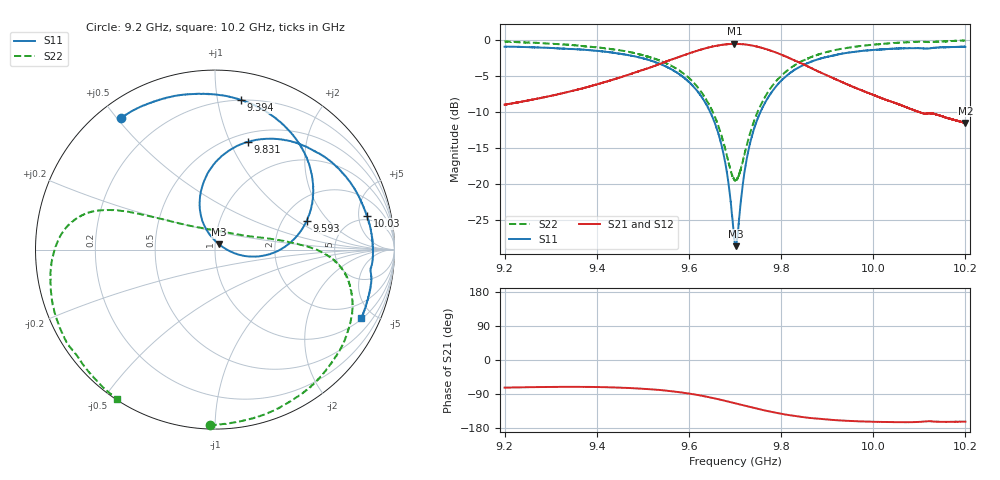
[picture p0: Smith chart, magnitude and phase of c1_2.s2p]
!Agilent Technologies,N5242A,MY51221714,A.09.90.19
!Agilent N5242A: A.09.90.19
!Date: Saturday, March 16, 2024 09:40:41
!Correction: S11(Full 2 Port(1,2))
!S21(Full 2 Port(1,2))
!S12(Full 2 Port(1,2))
!S22(Full 2 Port(1,2))
!S2P File: Measurements: S11, S21, S12, S22:
# Hz S  dB  R 50
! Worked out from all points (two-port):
!   16001 points, 9.2 GHz to 10.2 GHz, reference 50 ohm
!   highest |S21| = -0.51 dB at 9.699 GHz (marker M1); lowest = -11.5 dB at 10.2 GHz (marker M2)
!   |S21| within 3 dB of the highest: 9.528 GHz to 9.853 GHz (325.1 MHz wide, 3.35 % of centre)
!   lowest |S11| = -28.7 dB at 9.702 GHz (marker M3), VSWR 1.08, Z = 52.2 + j3.06 ohm
!   |S11| at or under -10 dB: 9.646 GHz to 9.755 GHz (109.2 MHz wide, 1.13 % of centre)
!   |S22| runs from -19.6 to 0.0 dB; largest |S21 - S12| = 0.013
!   S11 on the Smith chart (normalised r, x): 9.2 GHz: 0.07, +0.51; 9.394 GHz: 0.20, +1.17; 9.593 GHz: 2.69, +1.21; 9.831 GHz: 0.59, +1.17; 10.03 GHz: 4.20, +6.42; 10.2 GHz: 1.07, -4.27
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9.2e9  -0.91 125.7  -8.97 -72.9  -8.96 -73.6  -0.19 -91.7
9.27775e9  -1.03 108.3  -8.05 -71.4  -8.03 -71.9  -0.41 -70.2
9.366688e9  -1.31 87.2  -6.74 -71.0  -6.72 -71.6  -0.80 -46.8
9.394125e9  -1.46 80.2  -6.27 -71.2  -6.24 -71.9  -0.97 -39.7
9.463938e9  -2.03 61.1  -4.92 -73.6  -4.90 -74.1  -1.57 -23.6
9.533375e9  -3.20 39.4  -3.38 -78.8  -3.36 -79.4  -2.74 -9.7
9.593188e9  -5.42 17.4  -2.00 -87.3  -1.99 -87.9  -4.89 -0.1
9.662812e9  -12.75 -9.7  -0.75 -103.2  -0.73 -103.8  -11.72 15.1
9.681938e9  -18.21 -11.3  -0.58 -108.7  -0.56 -109.2  -15.96 31.8
9.698562e9  -27.59 25.8  -0.51 -113.7  -0.51 -114.3  -19.46 71.5
9.7e9  -28.21 36.5  -0.52 -114.1  -0.50 -114.8  -19.49 76.1
9.70175e9  -28.66 52.4  -0.53 -114.7  -0.51 -115.3  -19.51 81.7
9.72375e9  -17.16 113.9  -0.62 -121.4  -0.59 -122.0  -15.07 133.1
9.745062e9  -11.62 109.1  -0.85 -127.7  -0.84 -128.3  -10.59 147.6
9.781562e9  -7.06 93.7  -1.55 -137.5  -1.54 -138.2  -6.31 155.3
9.83125e9  -4.06 73.2  -2.87 -147.9  -2.87 -148.6  -3.42 161.0
9.866688e9  -2.97 59.9  -3.93 -153.5  -3.90 -154.1  -2.33 165.6
9.949188e9  -1.70 33.8  -6.29 -160.8  -6.30 -161.4  -1.02 179.3
1.002912e10  -1.23 12.5  -8.33 -163.6  -8.31 -164.3  -0.48 -164.2
1.003338e10  -1.23 11.5  -8.43 -163.7  -8.42 -164.3  -0.45 -163.1
1.010425e10  -1.12 -5.3  -10.11 -163.0  -10.10 -163.6  -0.23 -147.2
1.02e10  -0.92 -24.9  -11.52 -162.7  -11.51 -163.3  -0.05 -123.3
